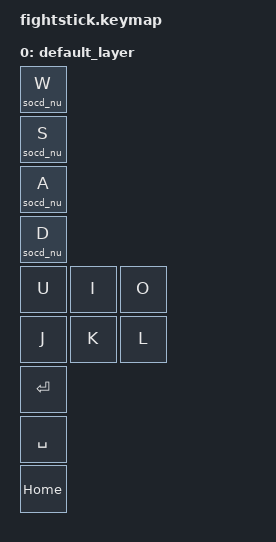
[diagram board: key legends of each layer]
#include <behaviors.dtsi>
#include <dt-bindings/zmk/keys.h>
#include <dt-bindings/zmk/bt.h>

/ {
    behaviors {
        // THIS IS THE CORRECT DEFINITION
        socd_nu: socd_nu {
            compatible = "zmk,behavior-socd";
            #binding-cells = <1>;
            // This next line is the critical fix.
            // It tells the SOCD behavior that its parameter will be a key-press (&kp).
            bindings = <&kp>;
            mode = "nu"; // Neutral mode
        };
    };

    keymap {
        compatible = "zmk,keymap";

        default_layer {
            // With the behavior correctly defined, this simple syntax now works.
            bindings = <
                // Joystick (Up, Down, Left, Right)
                &socd_nu W      // Use SOCD for the 'W' key
                &socd_nu S      // Use SOCD for the 'S' key
                &socd_nu A      // Use SOCD for the 'A' key
                &socd_nu D      // Use SOCD for the 'D' key
                
                // 6 Action Buttons (B1-B6)
                &kp U &kp I &kp O
                &kp J &kp K &kp L
                
                // 3 Function Buttons (Start, Select, Home)
                &kp ENTER
                &kp SPACE
                &kp HOME
            >;
        };
    };
};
